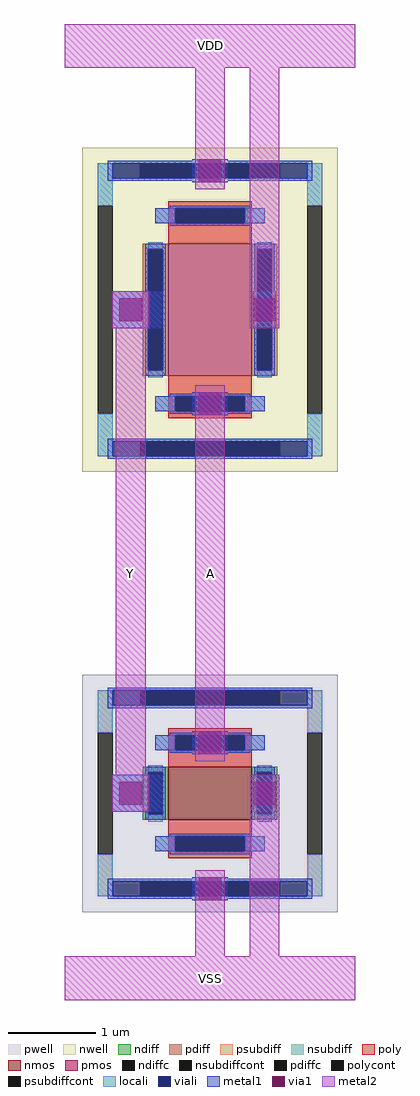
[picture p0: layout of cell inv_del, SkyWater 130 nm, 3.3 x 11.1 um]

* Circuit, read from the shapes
.subckt inv_del A Y VDD VSS
XM1 VSS A Y VSS sky130_fd_pr__nfet_01v8 w=0.6 l=0.95
XM2 VDD A Y VDD sky130_fd_pr__pfet_01v8 w=1.5 l=0.95
.ends

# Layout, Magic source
magic
tech sky130A
magscale 1 2
<< metal1 >>
rect 98 -42 150 42
rect -40 -243 40 -191
rect 98 1058 150 1142
rect -40 1390 40 1442
rect -40 89 40 141
rect -40 860 40 912
rect -222 -42 -101 42
rect -222 1058 -101 1142
rect -222 -42 -138 42
rect -222 1058 -138 1142
<< via1 >>
rect 98 -26 150 26
rect -26 -243 26 -191
rect 98 1074 150 1126
rect -26 1390 26 1442
rect -26 89 26 141
rect -26 860 26 912
rect -206 -26 -154 26
rect -206 1074 -154 1126
<< metal2 >>
rect -330 -470 330 -370
rect -330 1650 330 1750
rect 90 -42 158 42
rect 90 -454 158 34
rect -34 -259 34 -175
rect -34 -454 34 -183
rect 90 1058 158 1142
rect 90 1066 158 1734
rect -34 1374 34 1458
rect -34 1382 34 1734
rect -34 73 34 157
rect -34 844 34 928
rect -34 81 34 920
rect -222 -42 -138 42
rect -222 1058 -138 1142
rect -214 -34 -146 1134
use dev_n_inv_del XMN
transform 1 0 0 0 1 0
box -291 -270 291 270
use dev_p_inv_del XMP
transform 1 0 0 0 1 1100
box -291 -369 291 369
<< labels >>
rlabel metal2 -20 480 20 520 1 A
port 1 nsew
rlabel metal2 -200 480 -160 520 1 Y
port 2 nsew
rlabel metal2 -40 1670 40 1730 1 VDD
port 3 nsew
rlabel metal2 -40 -450 40 -390 1 VSS
port 4 nsew
<< properties >>
string FIXED_BBOX -330 -470 330 1750
<< end >>

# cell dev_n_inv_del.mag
magic
tech sky130A
magscale 1 2
<< pwell >>
rect -291 -270 291 270
<< nmos >>
rect -95 -60 95 60
<< ndiff >>
rect -153 48 -95 60
rect -153 -48 -141 48
rect -107 -48 -95 48
rect -153 -60 -95 -48
rect 95 48 153 60
rect 95 -48 107 48
rect 141 -48 153 48
rect 95 -60 153 -48
<< ndiffc >>
rect -141 -48 -107 48
rect 107 -48 141 48
<< psubdiff >>
rect -255 200 -159 234
rect 159 200 255 234
rect -255 138 -221 200
rect 221 138 255 200
rect -255 -200 -221 -138
rect 221 -200 255 -138
rect -255 -234 -159 -200
rect 159 -234 255 -200
<< psubdiffcont >>
rect -159 200 159 234
rect -255 -138 -221 138
rect 221 -138 255 138
rect -159 -234 159 -200
<< poly >>
rect -95 132 95 148
rect -95 98 -79 132
rect 79 98 95 132
rect -95 60 95 98
rect -95 -98 95 -60
rect -95 -132 -79 -98
rect 79 -132 95 -98
rect -95 -148 95 -132
<< polycont >>
rect -79 98 79 132
rect -79 -132 79 -98
<< locali >>
rect -255 138 -221 234
rect 221 138 255 234
rect -124 98 -79 132
rect 79 98 124 132
rect -141 48 -107 64
rect -141 -64 -107 -48
rect 107 48 141 64
rect 107 -64 141 -48
rect -124 -132 -79 -98
rect 79 -132 124 -98
rect -255 -234 -221 -138
rect 221 -234 255 -138
<< viali >>
rect -221 200 -159 234
rect -159 200 159 234
rect 159 200 221 234
rect -79 98 79 132
rect -141 -48 -107 48
rect 107 -48 141 48
rect -79 -132 79 -98
rect -221 -234 -159 -200
rect -159 -234 159 -200
rect 159 -234 221 -200
<< metal1 >>
rect -233 234 233 240
rect -233 200 -221 234
rect 221 200 233 234
rect -233 194 233 200
rect -91 132 91 138
rect -124 98 -79 132
rect 79 98 124 132
rect -91 92 91 98
rect -147 48 -101 60
rect -147 -48 -141 48
rect -107 -48 -101 48
rect -147 -60 -101 -48
rect 101 48 147 60
rect 101 -48 107 48
rect 141 -48 147 48
rect 101 -60 147 -48
rect -91 -98 91 -92
rect -124 -132 -79 -98
rect 79 -132 124 -98
rect -91 -138 91 -132
rect -233 -200 233 -194
rect -233 -234 -221 -200
rect 221 -234 233 -200
rect -233 -240 233 -234
<< properties >>
string FIXED_BBOX -238 -217 238 217
<< end >>

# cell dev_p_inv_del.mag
magic
tech sky130A
magscale 1 2
<< nwell >>
rect -291 -369 291 369
<< pmos >>
rect -95 -150 95 150
<< pdiff >>
rect -153 138 -95 150
rect -153 -138 -141 138
rect -107 -138 -95 138
rect -153 -150 -95 -138
rect 95 138 153 150
rect 95 -138 107 138
rect 141 -138 153 138
rect 95 -150 153 -138
<< pdiffc >>
rect -141 -138 -107 138
rect 107 -138 141 138
<< nsubdiff >>
rect -255 299 -159 333
rect 159 299 255 333
rect -255 237 -221 299
rect 221 237 255 299
rect -255 -299 -221 -237
rect 221 -299 255 -237
rect -255 -333 -159 -299
rect 159 -333 255 -299
<< nsubdiffcont >>
rect -159 299 159 333
rect -255 -237 -221 237
rect 221 -237 255 237
rect -159 -333 159 -299
<< poly >>
rect -95 231 95 247
rect -95 197 -79 231
rect 79 197 95 231
rect -95 150 95 197
rect -95 -197 95 -150
rect -95 -231 -79 -197
rect 79 -231 95 -197
rect -95 -247 95 -231
<< polycont >>
rect -79 197 79 231
rect -79 -231 79 -197
<< locali >>
rect -255 237 -221 333
rect 221 237 255 333
rect -124 197 -79 231
rect 79 197 124 231
rect -141 138 -107 154
rect -141 -154 -107 -138
rect 107 138 141 154
rect 107 -154 141 -138
rect -124 -231 -79 -197
rect 79 -231 124 -197
rect -255 -333 -221 -237
rect 221 -333 255 -237
<< viali >>
rect -221 299 -159 333
rect -159 299 159 333
rect 159 299 221 333
rect -79 197 79 231
rect -141 -138 -107 138
rect 107 -138 141 138
rect -79 -231 79 -197
rect -221 -333 -159 -299
rect -159 -333 159 -299
rect 159 -333 221 -299
<< metal1 >>
rect -233 333 233 339
rect -233 299 -221 333
rect 221 299 233 333
rect -233 293 233 299
rect -91 231 91 237
rect -124 197 -79 231
rect 79 197 124 231
rect -91 191 91 197
rect -147 138 -101 150
rect -147 -138 -141 138
rect -107 -138 -101 138
rect -147 -150 -101 -138
rect 101 138 147 150
rect 101 -138 107 138
rect 141 -138 147 138
rect 101 -150 147 -138
rect -91 -197 91 -191
rect -124 -231 -79 -197
rect 79 -231 124 -197
rect -91 -237 91 -231
rect -233 -299 233 -293
rect -233 -333 -221 -299
rect 221 -333 233 -299
rect -233 -339 233 -333
<< properties >>
string FIXED_BBOX -238 -316 238 316
<< end >>
